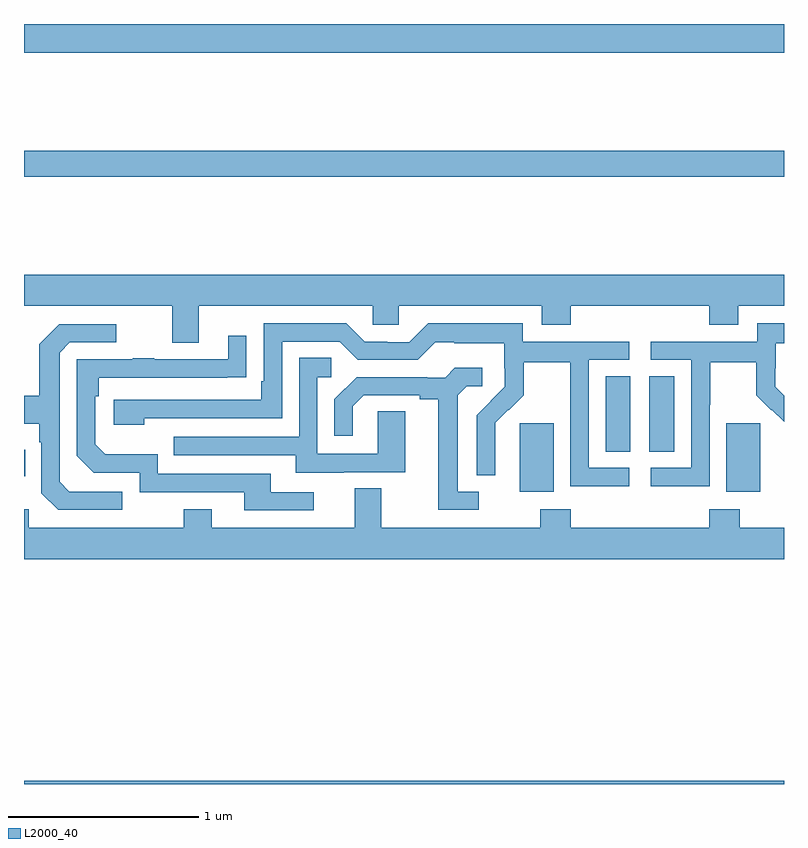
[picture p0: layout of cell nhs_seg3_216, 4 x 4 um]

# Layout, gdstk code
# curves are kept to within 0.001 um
import gdstk
lib = gdstk.Library(unit=1e-6, precision=1e-09)
def R(c, l, rs):  # rectangles x0, y0, x1, y1
    for r in rs: c.add(gdstk.rectangle(r[:2], r[2:], *l))
def P(c, l, *ps):  # polygons
    for p in ps: c.add(gdstk.Polygon(p, *l))
L2000_40 = (2000, 40)

nhs_seg3_216 = lib.new_cell('nhs_seg3_216')
R(nhs_seg3_216, L2000_40, [(121,698.4,125,698.416), (123.608,699.938,123.787,700.299), (124.697,699.938,124.876,700.299), (121,700.019,121.007,700.159), (124.061,700.15,124.192,700.547), (124.292,700.15,124.423,700.547), (121,701.596,125,701.732), (121,702.248,125,702.4)])
P(nhs_seg3_216, L2000_40, [(121.921,700.916),(122.835,700.916),(122.835,700.818),(122.973,700.818),(122.973,700.916),(123.725,700.916),(123.725,700.817),(123.878,700.817),(123.878,700.916),(124.607,700.916),(124.607,700.817),(124.759,700.817),(124.759,700.916),(125,700.916),(125,701.08),(121,701.08),(121,700.916),(121.781,700.916),(121.781,700.722),(121.921,700.722)],
  [(124.186,700.065),(123.972,700.065),(123.972,700.632),(124.186,700.632),(124.186,700.728),(123.624,700.728),(123.624,700.825),(123.127,700.825),(123.027,700.725),(122.912,700.725),(122.912,700.728),(122.793,700.728),(122.697,700.824),(122.262,700.824),(122.262,700.519),(122.249,700.519),(122.249,700.422),(121.473,700.422),(121.473,700.292),(121.634,700.292),(121.634,700.326),(122.358,700.326),(122.358,700.728),(122.661,700.728),(122.757,700.632),(123.072,700.632),(123.165,700.725),(123.265,700.725),(123.265,700.721),(123.528,700.721),(123.528,700.587),(123.53,700.587),(123.53,700.49),(123.384,700.342),(123.384,700.024),(123.48,700.024),(123.479,700.301),(123.549,700.371),(123.552,700.368),(123.629,700.445),(123.629,700.62),(123.874,700.62),(123.874,700.396),(123.876,700.396),(123.876,699.967),(124.186,699.967)],
  [(124.608,700.396),(124.611,700.396),(124.611,700.62),(124.855,700.62),(124.855,700.445),(124.932,700.368),(124.935,700.371),(125,700.307),(125,700.444),(124.954,700.49),(124.954,700.587),(124.956,700.587),(124.956,700.721),(125,700.721),(125,700.825),(124.86,700.825),(124.86,700.728),(124.299,700.728),(124.299,700.632),(124.512,700.632),(124.512,700.065),(124.299,700.065),(124.299,699.967),(124.608,699.967)],
  [(121.516,699.939),(121.239,699.939),(121.188,699.99),(121.188,700.671),(121.242,700.725),(121.486,700.725),(121.486,700.821),(121.185,700.821),(121.08,700.715),(121.08,700.443),(121,700.443),(121,700.295),(121.08,700.295),(121.08,700.199),(121.092,700.199),(121.092,699.93),(121.179,699.843),(121.516,699.843)],
  [(122.524,699.936),(122.299,699.936),(122.299,700.032),(121.704,700.032),(121.704,700.135),(121.427,700.135),(121.374,700.188),(121.374,700.442),(121.394,700.442),(121.394,700.539),(122.171,700.54),(122.171,700.759),(122.075,700.759),(122.075,700.635),(121.685,700.635),(121.685,700.64),(121.573,700.64),(121.573,700.635),(121.278,700.635),(121.278,700.128),(121.368,700.038),(121.608,700.038),(121.608,699.936),(122.159,699.936),(122.159,699.84),(122.524,699.84)],
  [(122.683,700.041),(123.007,700.041),(123.007,700.361),(122.862,700.361),(122.862,700.137),(122.544,700.137),(122.544,700.542),(122.617,700.542),(122.617,700.643),(122.448,700.643),(122.448,700.227),(121.789,700.227),(121.789,700.131),(122.429,700.131),(122.429,700.037),(122.683,700.037)],
  [(123.394,699.939),(123.283,699.939),(123.283,700.447),(123.33,700.494),(123.412,700.494),(123.412,700.591),(123.268,700.591),(123.216,700.539),(123.122,700.539),(123.122,700.542),(122.75,700.542),(122.634,700.426),(122.634,700.233),(122.731,700.233),(122.731,700.389),(122.788,700.446),(123.083,700.446),(123.083,700.424),(123.179,700.424),(123.179,699.843),(123.394,699.843)],
  [(125,699.748),(124.767,699.748),(124.767,699.847),(124.607,699.847),(124.607,699.748),(123.878,699.748),(123.878,699.847),(123.718,699.847),(123.718,699.748),(122.881,699.748),(122.881,699.956),(122.741,699.956),(122.741,699.748),(121.987,699.748),(121.987,699.847),(121.84,699.847),(121.84,699.748),(121.026,699.748),(121.026,699.847),(121,699.847),(121,699.584),(125,699.584)])

lib.write_gds('nhs_seg3_216.gds')
